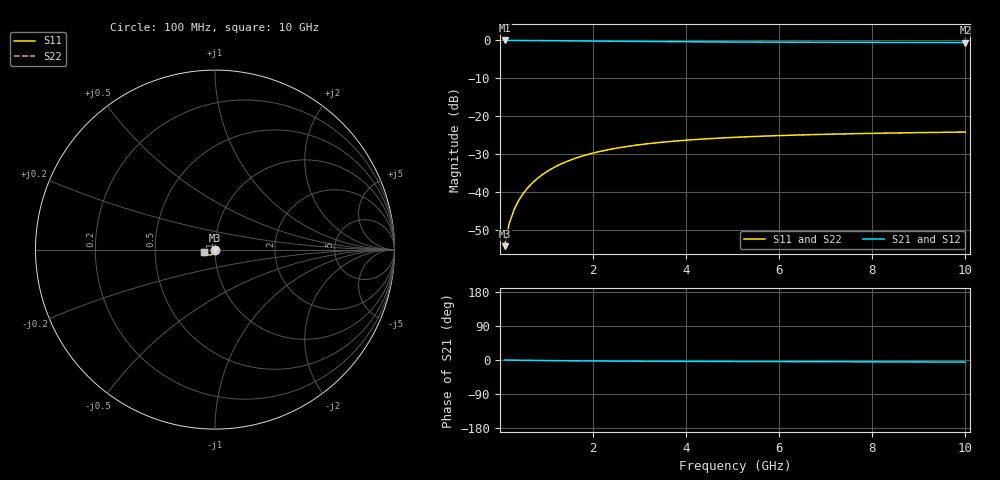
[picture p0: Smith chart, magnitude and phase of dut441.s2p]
! Touchstone file exported from HFSS 2024.1.0
!  File:  C:/UserFiles/LocalFiles/RDL_TSV_Batchsim/temp_TSV1_441_1779695244.aedt
!  Generated:  03:58:11 PM May 25, 2026
!  Design:  TSV1
!  Project:  temp_TSV1_441_1779695244
!  Setup:  Setup1
!  Solution:  Sweep
! Variables:
!  dtsv = 12.58um
!  hbump = 3um
!  htsv = 84.63um
!  lrdl = 252.1521522um
!  p = 40
!  p1 = 49.24um
!  t = 500um
!  trdl = 3um
!  wrdl = 24.89489489um
# GHz S MA R 50.000000
! Terminal data exported
! Port[1] = TSV22_T1
! Port[2] = TSV22_T2
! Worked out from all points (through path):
!   100 points, 100 MHz to 10 GHz, reference 50 ohm
!   highest |S21| = 0.00 dB at 100 MHz (marker M1); lowest = -0.5 dB at 10 GHz (marker M2)
!   lowest |S11| = -54.3 dB at 100 MHz (marker M3), VSWR 1.00, Z = 50 - j0.193 ohm
!   |S11| at or under -10 dB: start of sweep to end of sweep
!   |S22| runs from -54.3 to -24.2 dB; largest |S21 - S12| = 1.6e-14
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0.1  0.001932 -89.0  0.9998 -0.2  0.9998 -0.2  0.001932 -89.0
! Gamma 0 0 0 0
! Port Impedance 50 0 50 0
0.2  0.00386 -92.2  0.9996 -0.3  0.9996 -0.3  0.00386 -92.2
0.3  0.005782 -94.5  0.9993 -0.5  0.9993 -0.5  0.005782 -94.5
0.4  0.00769 -96.6  0.9988 -0.6  0.9988 -0.6  0.00769 -96.6
0.5  0.009576 -98.6  0.9983 -0.8  0.9983 -0.8  0.009576 -98.6
0.6  0.01143 -100.5  0.9976 -0.9  0.9976 -0.9  0.01143 -100.5
0.7  0.01326 -102.4  0.9969 -1.1  0.9969 -1.1  0.01326 -102.4
0.8  0.01504 -104.3  0.996 -1.2  0.996 -1.2  0.01504 -104.3
0.9  0.01679 -106.1  0.9951 -1.3  0.9951 -1.3  0.01679 -106.1
1.1  0.02013 -109.6  0.993 -1.6  0.993 -1.6  0.02013 -109.6
1.4  0.02478 -114.5  0.9896 -1.9  0.9896 -1.9  0.02478 -114.5
1.6  0.02761 -117.6  0.9872 -2.2  0.9872 -2.2  0.02761 -117.6
1.8  0.03023 -120.5  0.9847 -2.3  0.9847 -2.3  0.03023 -120.5
2.1  0.03378 -124.5  0.981 -2.6  0.981 -2.6  0.03378 -124.5
2.5  0.03787 -129.3  0.9762 -2.9  0.9762 -2.9  0.03787 -129.3
2.9  0.04132 -133.6  0.9718 -3.1  0.9718 -3.1  0.04132 -133.6
3.4  0.04488 -138.2  0.9668 -3.3  0.9668 -3.3  0.04488 -138.2
4.2  0.04928 -144.5  0.9602 -3.7  0.9602 -3.7  0.04928 -144.5
5.1  0.0529 -150.1  0.9544 -4.0  0.9544 -4.0  0.0529 -150.1
6.7  0.0572 -157.7  0.9471 -4.4  0.9471 -4.4  0.0572 -157.7
8.4  0.06006 -163.9  0.9421 -4.9  0.9421 -4.9  0.06006 -163.9
10  0.06188 -168.5  0.9389 -5.4  0.9389 -5.4  0.06188 -168.5
